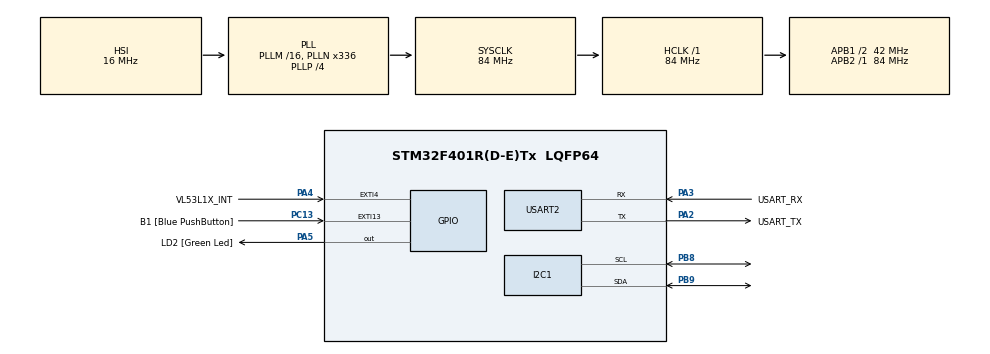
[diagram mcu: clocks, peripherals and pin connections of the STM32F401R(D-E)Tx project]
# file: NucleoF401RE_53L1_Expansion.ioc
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I2C1.I2C_Mode=I2C_Standard
Mcu.Family=STM32F4
Mcu.Name=STM32F401R(D-E)Tx
Mcu.Package=LQFP64
NVIC.EXTI4_IRQn=true\:0\:0\:false\:false\:true\:true\:true\:true
NVIC.PriorityGroup=NVIC_PRIORITYGROUP_4
PA13.GPIO_Label=TMS
PA13.Mode=Trace_Asynchronous_SW
PA13.Signal=SYS_JTMS-SWDIO
PA14.GPIO_Label=TCK
PA14.Mode=Trace_Asynchronous_SW
PA14.Signal=SYS_JTCK-SWCLK
PA2.GPIO_Label=USART_TX
PA2.GPIO_Mode=GPIO_MODE_AF_PP
PA2.GPIO_PuPd=GPIO_NOPULL
PA2.GPIO_Speed=GPIO_SPEED_FREQ_LOW
PA2.Mode=Asynchronous
PA2.Signal=USART2_TX
PA3.GPIO_Label=USART_RX
PA3.GPIO_Mode=GPIO_MODE_AF_PP
PA3.GPIO_PuPd=GPIO_NOPULL
PA3.GPIO_Speed=GPIO_SPEED_FREQ_LOW
PA3.Mode=Asynchronous
PA3.Signal=USART2_RX
PA4.GPIO_Label=VL53L1X_INT
PA4.GPIO_ModeDefaultEXTI=GPIO_MODE_IT_FALLING
PA4.Signal=GPXTI4
PA5.GPIO_Label=LD2 [Green Led]
PA5.GPIO_Mode=GPIO_MODE_OUTPUT_PP
PA5.GPIO_PuPd=GPIO_NOPULL
PA5.GPIO_Speed=GPIO_SPEED_FREQ_LOW
PA5.Signal=GPIO_Output
PB3.GPIO_Label=SWO
PB3.Mode=Trace_Asynchronous_SW
PB3.Signal=SYS_JTDO-SWO
PB8.Mode=I2C
PB8.Signal=I2C1_SCL
PB9.Mode=I2C
PB9.Signal=I2C1_SDA
PC13-ANTI_TAMP.GPIO_Label=B1 [Blue PushButton]
PC13-ANTI_TAMP.GPIO_ModeDefaultEXTI=GPIO_MODE_IT_FALLING
PC13-ANTI_TAMP.GPIO_PuPd=GPIO_NOPULL
PC13-ANTI_TAMP.Signal=GPXTI13
PC14-OSC32_IN.Mode=LSE-External-Oscillator
PC14-OSC32_IN.Signal=RCC_OSC32_IN
PC15-OSC32_OUT.Mode=LSE-External-Oscillator
PC15-OSC32_OUT.Signal=RCC_OSC32_OUT
PH0\ -\ OSC_IN.Mode=HSE-External-Clock-Source
PH0\ -\ OSC_IN.Signal=RCC_OSC_IN
PH1\ -\ OSC_OUT.Mode=HSE-External-Clock-Source
PH1\ -\ OSC_OUT.Signal=RCC_OSC_OUT
ProjectManager.HeapSize=0x200
ProjectManager.StackSize=0x400
ProjectManager.TargetToolchain=STM32CubeIDE
RCC.48MHZClocksFreq_Value=48000000
RCC.AHBFreq_Value=84000000
RCC.APB1CLKDivider=RCC_HCLK_DIV2
RCC.APB1Freq_Value=42000000
RCC.APB1TimFreq_Value=84000000
RCC.APB2Freq_Value=84000000
RCC.APB2TimFreq_Value=84000000
RCC.CortexFreq_Value=84000000
RCC.HCLKFreq_Value=84000000
RCC.HSE_VALUE=8000000
RCC.HSI_VALUE=16000000
RCC.PLLN=336
RCC.PLLP=RCC_PLLP_DIV4
RCC.PLLQ=7
RCC.SYSCLKFreq_VALUE=84000000
RCC.SYSCLKSource=RCC_SYSCLKSOURCE_PLLCLK
RCC.VCOOutputFreq_Value=336000000
USART2.VirtualMode=VM_ASYNC
board=NUCLEO-F401RE

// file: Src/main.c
/* USER CODE BEGIN Header */
/**
  ******************************************************************************
  * @file           : main.c
  * @brief          : Main program body
  ******************************************************************************
  * @attention
  *
  * Copyright (c) 2025 STMicroelectronics.
  * All rights reserved.
  *
  * This software is licensed under terms that can be found in the LICENSE file
  * in the root directory of this software component.
  * If no LICENSE file comes with this software, it is provided AS-IS.
  *
  ******************************************************************************
  */
/* USER CODE END Header */
#include "main.h"

/* USER CODE BEGIN Includes */

#include "VL53L1X_API.h"
#include "VL53l1X_calibration.h"
#include "X-NUCLEO-53L1A1.h"
/* USER CODE END Includes */

/* USER CODE BEGIN PM */
#define isInterrupt 0 /* If isInterrupt = 1 then device working in interrupt mode, else device working in polling mode */
/* USER CODE END PM */

I2C_HandleTypeDef hi2c1;

UART_HandleTypeDef huart2;

/* USER CODE BEGIN PV */
uint16_t	dev=0x52;
int status=0;
volatile int IntCount;

/* USER CODE END PV */

void SystemClock_Config(void);
static void MX_GPIO_Init(void);
static void MX_USART2_UART_Init(void);
static void MX_I2C1_Init(void);
/* USER CODE BEGIN PFP */
void Error_Handler(void);
void RangingLoop(void); /* */
void Multizones(void);
/* USER CODE END PFP */

/* USER CODE BEGIN 0 */
#ifdef __GNUC__
#define PUTCHAR_PROTOTYPE int __io_putchar(int ch)
#else
#define PUTCHAR_PROTOTYPE int fputc(int ch, FILE *f)
#endif

PUTCHAR_PROTOTYPE
{
  HAL_UART_Transmit(&huart2, (uint8_t*)&ch, 1, 0xFFFF);
  return ch;
}

void HAL_GPIO_EXTI_Callback(uint16_t GPIO_Pin)
{
	if (GPIO_Pin==VL53L1X_INT_Pin)
	{
		IntCount++;
	}
}
/* USER CODE END 0 */

int main(void)
{

  /* USER CODE BEGIN 1 */
  uint8_t byteData;
  uint16_t wordData;
  uint8_t ToFSensor = 0; // 0=Left, 1=Center(default), 2=Right

  uint8_t sensorState=0;
  uint16_t Distance;
  uint16_t SignalRate;
  uint16_t AmbientRate;
  uint16_t SpadNum;
  uint8_t RangeStatus;
  uint8_t dataReady =0;
  uint16_t timeout_counter = 0;

//  int16_t offset;
//  uint16_t xtalk;

  /* USER CODE END 1 */

  /* MCU Configuration--------------------------------------------------------*/

  /* Reset of all peripherals, Initializes the Flash interface and the Systick. */
  HAL_Init();

  /* Configure the system clock */
  SystemClock_Config();

  /* Initialize all configured peripherals */
  MX_GPIO_Init();
  MX_USART2_UART_Init();
  MX_I2C1_Init();
  /* USER CODE BEGIN 2 */
  XNUCLEO53L1A1_Init();

  ToFSensor = 1; // Select ToFSensor: 0=Left, 1=Center, 2=Right
  status = XNUCLEO53L1A1_ResetId(ToFSensor, 0); // Reset ToF sensor
  HAL_Delay(2);
  status = XNUCLEO53L1A1_ResetId(ToFSensor, 1); // Reset ToF sensor
  HAL_Delay(2);

/* Those basic I2C read functions can be used to check your own I2C functions */
  status = VL53L1_RdByte(dev, 0x010F, &byteData);
  printf("VL53L1X Model_ID: %X\n", byteData);
  status = VL53L1_RdByte(dev, 0x0110, &byteData);
  printf("VL53L1X Module_Type: %X\n", byteData);
  status = VL53L1_RdWord(dev, 0x010F, &wordData);
  printf("VL53L1X: %X\n", wordData);

  while(sensorState==0){
 		status = VL53L1X_BootState(dev, &sensorState);
 	HAL_Delay(2);
  }
  printf("Chip booted\n");
  /* This function must to be called to initialize the sensor with the default setting  */
  status = VL53L1X_SensorInit(dev);
  /* Optional functions to be used to change the main ranging parameters according the application requirements to get the best ranging performances */
  status = VL53L1X_SetDistanceMode(dev, 2); /* 1=short, 2=long */
  status = VL53L1X_SetTimingBudgetInMs(dev, 100); /* in ms possible values [20, 50, 100, 200, 500] */
  status = VL53L1X_SetInterMeasurementInMs(dev, 100); /* in ms, IM must be > = TB */
  status = VL53L1X_SetInterruptPolarity(dev,0); //This function programs the interrupt polarity, 1 = active high (default), 0 = active low.
//  status = VL53L1X_SetOffset(dev,20); /* offset compensation in mm */
//  status = VL53L1X_SetROI(dev, 16, 16); /* minimum ROI 4,4 */

//	status = VL53L1X_CalibrateOffset(dev, 140, &offset); /* may take few second to perform the offset cal*/
//  printf("VL53L1X_CalibrateOffset=%d\n", offset);
//  status = VL53L1X_CalibrateXtalk(dev, 1000, &xtalk); /* may take few second to perform the xtalk cal */
//  printf("VL53L1X_CalibrateXtalk=%d\n", xtalk/512);
  printf("VL53L1X Ultra Lite Driver Example running ...\n");

  status = VL53L1X_StartRanging(dev);   /* This function has to be called to enable the ranging */

  /* USER CODE END 2 */

  /* Infinite loop */
  while (1)
  {

    /* USER CODE BEGIN 3 */
	  if (isInterrupt){	// HW interrupt mode
	  	  __WFI();
	  	  if(IntCount !=0 ){
	  		  IntCount=0;
	  		  status = VL53L1X_GetRangeStatus(dev, &RangeStatus);
	  		  status = VL53L1X_GetDistance(dev, &Distance);
	  		  status = VL53L1X_GetSignalRate(dev, &SignalRate);
	  		  status = VL53L1X_GetAmbientRate(dev, &AmbientRate);
	  		  status = VL53L1X_GetSpadNb(dev, &SpadNum);
	  		  status = VL53L1X_ClearInterrupt(dev); /* clear interrupt has to be called to enable next interrupt*/
	  		  printf("%u, %u, %u, %u, %u\n", RangeStatus, Distance, SignalRate, AmbientRate,SpadNum);
	  	  }
	  	}else{  // SW polling mode
	  		  while (dataReady == 0)
			  {
	  			  status = VL53L1X_CheckForDataReady(dev, &dataReady);
				  timeout_counter++;
				  if (timeout_counter >= 1000)
				  {
					  status = (uint8_t)VL53L1X_ERROR_TIMEOUT;
					  printf("No data ready for long time, please check your system\n");
					  timeout_counter = 0;
				  }
				  status = VL53L1_WaitMs(dev, 1);
			  }
			  dataReady = 0;
			  timeout_counter = 0;

	  		  status = VL53L1X_GetRangeStatus(dev, &RangeStatus);
	  		  status = VL53L1X_GetDistance(dev, &Distance);
	  		  status = VL53L1X_GetSignalRate(dev, &SignalRate);
	  		  status = VL53L1X_GetAmbientRate(dev, &AmbientRate);
	  		  status = VL53L1X_GetSpadNb(dev, &SpadNum);
	  		  status = VL53L1X_ClearInterrupt(dev); /* clear interrupt has to be called to enable next interrupt*/
	  		  printf("%u, %u, %u, %u, %u\n", RangeStatus, Distance, SignalRate, AmbientRate,SpadNum);
	  	}

  }
  /* USER CODE END 3 */
}

void SystemClock_Config(void)
{
  RCC_OscInitTypeDef RCC_OscInitStruct = {0};
  RCC_ClkInitTypeDef RCC_ClkInitStruct = {0};

  /** Configure the main internal regulator output voltage
  */
  __HAL_RCC_PWR_CLK_ENABLE();
  __HAL_PWR_VOLTAGESCALING_CONFIG(PWR_REGULATOR_VOLTAGE_SCALE2);

  /** Initializes the RCC Oscillators according to the specified parameters
  * in the RCC_OscInitTypeDef structure.
  */
  RCC_OscInitStruct.OscillatorType = RCC_OSCILLATORTYPE_HSI;
  RCC_OscInitStruct.HSIState = RCC_HSI_ON;
  RCC_OscInitStruct.HSICalibrationValue = RCC_HSICALIBRATION_DEFAULT;
  RCC_OscInitStruct.PLL.PLLState = RCC_PLL_ON;
  RCC_OscInitStruct.PLL.PLLSource = RCC_PLLSOURCE_HSI;
  RCC_OscInitStruct.PLL.PLLM = 16;
  RCC_OscInitStruct.PLL.PLLN = 336;
  RCC_OscInitStruct.PLL.PLLP = RCC_PLLP_DIV4;
  RCC_OscInitStruct.PLL.PLLQ = 7;
  if (HAL_RCC_OscConfig(&RCC_OscInitStruct) != HAL_OK)
  {
    Error_Handler();
  }

  /** Initializes the CPU, AHB and APB buses clocks
  */
  RCC_ClkInitStruct.ClockType = RCC_CLOCKTYPE_HCLK|RCC_CLOCKTYPE_SYSCLK
                              |RCC_CLOCKTYPE_PCLK1|RCC_CLOCKTYPE_PCLK2;
  RCC_ClkInitStruct.SYSCLKSource = RCC_SYSCLKSOURCE_PLLCLK;
  RCC_ClkInitStruct.AHBCLKDivider = RCC_SYSCLK_DIV1;
  RCC_ClkInitStruct.APB1CLKDivider = RCC_HCLK_DIV2;
  RCC_ClkInitStruct.APB2CLKDivider = RCC_HCLK_DIV1;

  if (HAL_RCC_ClockConfig(&RCC_ClkInitStruct, FLASH_LATENCY_2) != HAL_OK)
  {
    Error_Handler();
  }
}

static void MX_I2C1_Init(void)
{

  hi2c1.Instance = I2C1;
  hi2c1.Init.ClockSpeed = 100000;
  hi2c1.Init.DutyCycle = I2C_DUTYCYCLE_2;
  hi2c1.Init.OwnAddress1 = 0;
  hi2c1.Init.AddressingMode = I2C_ADDRESSINGMODE_7BIT;
  hi2c1.Init.DualAddressMode = I2C_DUALADDRESS_DISABLE;
  hi2c1.Init.OwnAddress2 = 0;
  hi2c1.Init.GeneralCallMode = I2C_GENERALCALL_DISABLE;
  hi2c1.Init.NoStretchMode = I2C_NOSTRETCH_DISABLE;
  if (HAL_I2C_Init(&hi2c1) != HAL_OK)
  {
    Error_Handler();
  }

}

static void MX_USART2_UART_Init(void)
{

  huart2.Instance = USART2;
  huart2.Init.BaudRate = 115200;
  huart2.Init.WordLength = UART_WORDLENGTH_8B;
  huart2.Init.StopBits = UART_STOPBITS_1;
  huart2.Init.Parity = UART_PARITY_NONE;
  huart2.Init.Mode = UART_MODE_TX_RX;
  huart2.Init.HwFlowCtl = UART_HWCONTROL_NONE;
  huart2.Init.OverSampling = UART_OVERSAMPLING_16;
  if (HAL_UART_Init(&huart2) != HAL_OK)
  {
    Error_Handler();
  }

}

static void MX_GPIO_Init(void)
{
  GPIO_InitTypeDef GPIO_InitStruct = {0};

  /* GPIO Ports Clock Enable */
  __HAL_RCC_GPIOC_CLK_ENABLE();
  __HAL_RCC_GPIOH_CLK_ENABLE();
  __HAL_RCC_GPIOA_CLK_ENABLE();
  __HAL_RCC_GPIOB_CLK_ENABLE();

  /*Configure GPIO pin Output Level */
  HAL_GPIO_WritePin(LD2_GPIO_Port, LD2_Pin, GPIO_PIN_RESET);

  /*Configure GPIO pin : B1_Pin */
  GPIO_InitStruct.Pin = B1_Pin;
  GPIO_InitStruct.Mode = GPIO_MODE_IT_FALLING;
  GPIO_InitStruct.Pull = GPIO_NOPULL;
  HAL_GPIO_Init(B1_GPIO_Port, &GPIO_InitStruct);

  /*Configure GPIO pin : VL53L1X_INT_Pin */
  GPIO_InitStruct.Pin = VL53L1X_INT_Pin;
  GPIO_InitStruct.Mode = GPIO_MODE_IT_FALLING;
  GPIO_InitStruct.Pull = GPIO_NOPULL;
  HAL_GPIO_Init(VL53L1X_INT_GPIO_Port, &GPIO_InitStruct);

  /*Configure GPIO pin : LD2_Pin */
  GPIO_InitStruct.Pin = LD2_Pin;
  GPIO_InitStruct.Mode = GPIO_MODE_OUTPUT_PP;
  GPIO_InitStruct.Pull = GPIO_NOPULL;
  GPIO_InitStruct.Speed = GPIO_SPEED_FREQ_LOW;
  HAL_GPIO_Init(LD2_GPIO_Port, &GPIO_InitStruct);

  /* EXTI interrupt init*/
  HAL_NVIC_SetPriority(EXTI4_IRQn, 0, 0);
  HAL_NVIC_EnableIRQ(EXTI4_IRQn);

}

void Error_Handler(void)
{
  __disable_irq();
  while (1)
  {
  }
}
